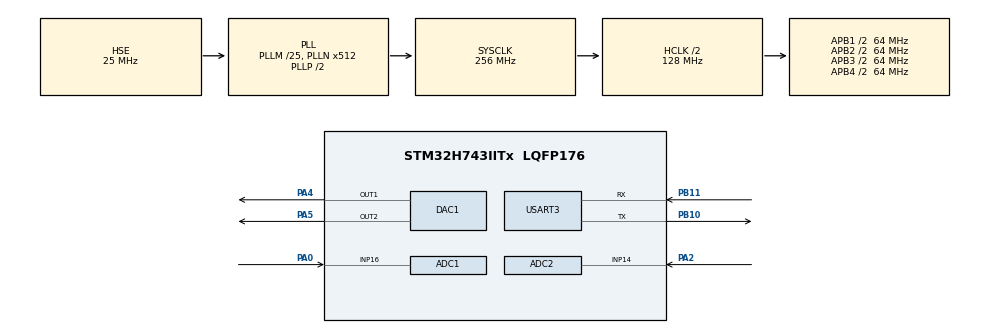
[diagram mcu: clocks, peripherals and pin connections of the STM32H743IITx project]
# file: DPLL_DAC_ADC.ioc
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ADC1.Channel-0\#ChannelRegularConversion=ADC_CHANNEL_16
ADC1.ConversionDataManagement=ADC_CONVERSIONDATA_DMA_ONESHOT
ADC1.ExternalTrigConv=ADC_EXTERNALTRIG_T3_TRGO
ADC1.NbrOfConversionFlag=1
ADC1.OffsetNumber-0\#ChannelRegularConversion=ADC_OFFSET_NONE
ADC1.OffsetSignedSaturation-0\#ChannelRegularConversion=DISABLE
ADC1.Rank-0\#ChannelRegularConversion=1
ADC1.SamplingTime-0\#ChannelRegularConversion=ADC_SAMPLETIME_1CYCLE_5
ADC1.master=1
ADC2.Channel-0\#ChannelRegularConversion=ADC_CHANNEL_14
ADC2.ConversionDataManagement=ADC_CONVERSIONDATA_DMA_ONESHOT
ADC2.ExternalTrigConv=ADC_EXTERNALTRIG_T3_TRGO
ADC2.NbrOfConversionFlag=1
ADC2.OffsetNumber-0\#ChannelRegularConversion=ADC_OFFSET_NONE
ADC2.OffsetSignedSaturation-0\#ChannelRegularConversion=DISABLE
ADC2.Rank-0\#ChannelRegularConversion=1
ADC2.SamplingTime-0\#ChannelRegularConversion=ADC_SAMPLETIME_1CYCLE_5
DAC1.DAC1_OutputBuffer-DAC_OUT1=DAC_OUTPUTBUFFER_DISABLE
DAC1.DAC2_OutputBuffer-DAC_OUT2=DAC_OUTPUTBUFFER_DISABLE
DAC1.DAC_Channel-DAC_OUT1=DAC_CHANNEL_1
DAC1.DAC_Channel-DAC_OUT2=DAC_CHANNEL_2
DAC1.DAC_Trigger-DAC_OUT1=DAC_TRIGGER_T4_TRGO
DAC1.DAC_Trigger-DAC_OUT2=DAC_TRIGGER_T4_TRGO
Dma.ADC1.0.Direction=DMA_PERIPH_TO_MEMORY
Dma.ADC1.0.EventEnable=DISABLE
Dma.ADC1.0.FIFOMode=DMA_FIFOMODE_DISABLE
Dma.ADC1.0.Instance=DMA1_Stream0
Dma.ADC1.0.MemDataAlignment=DMA_MDATAALIGN_HALFWORD
Dma.ADC1.0.MemInc=DMA_MINC_ENABLE
Dma.ADC1.0.Mode=DMA_NORMAL
Dma.ADC1.0.PeriphDataAlignment=DMA_PDATAALIGN_HALFWORD
Dma.ADC1.0.PeriphInc=DMA_PINC_DISABLE
Dma.ADC1.0.Polarity=HAL_DMAMUX_REQ_GEN_RISING
Dma.ADC1.0.Priority=DMA_PRIORITY_LOW
Dma.ADC1.0.RequestNumber=1
Dma.ADC1.0.SignalID=NONE
Dma.ADC1.0.SyncEnable=DISABLE
Dma.ADC1.0.SyncPolarity=HAL_DMAMUX_SYNC_NO_EVENT
Dma.ADC1.0.SyncRequestNumber=1
Dma.ADC1.0.SyncSignalID=NONE
Dma.ADC2.3.Direction=DMA_PERIPH_TO_MEMORY
Dma.ADC2.3.EventEnable=DISABLE
Dma.ADC2.3.FIFOMode=DMA_FIFOMODE_DISABLE
Dma.ADC2.3.Instance=DMA1_Stream2
Dma.ADC2.3.MemDataAlignment=DMA_MDATAALIGN_HALFWORD
Dma.ADC2.3.MemInc=DMA_MINC_ENABLE
Dma.ADC2.3.Mode=DMA_NORMAL
Dma.ADC2.3.PeriphDataAlignment=DMA_PDATAALIGN_HALFWORD
Dma.ADC2.3.PeriphInc=DMA_PINC_DISABLE
Dma.ADC2.3.Polarity=HAL_DMAMUX_REQ_GEN_RISING
Dma.ADC2.3.Priority=DMA_PRIORITY_LOW
Dma.ADC2.3.RequestNumber=1
Dma.ADC2.3.SignalID=NONE
Dma.ADC2.3.SyncEnable=DISABLE
Dma.ADC2.3.SyncPolarity=HAL_DMAMUX_SYNC_NO_EVENT
Dma.ADC2.3.SyncRequestNumber=1
Dma.ADC2.3.SyncSignalID=NONE
Dma.DAC1_CH1.1.Direction=DMA_MEMORY_TO_PERIPH
Dma.DAC1_CH1.1.EventEnable=DISABLE
Dma.DAC1_CH1.1.FIFOMode=DMA_FIFOMODE_DISABLE
Dma.DAC1_CH1.1.Instance=DMA1_Stream1
Dma.DAC1_CH1.1.MemDataAlignment=DMA_MDATAALIGN_HALFWORD
Dma.DAC1_CH1.1.MemInc=DMA_MINC_ENABLE
Dma.DAC1_CH1.1.Mode=DMA_CIRCULAR
Dma.DAC1_CH1.1.PeriphDataAlignment=DMA_PDATAALIGN_HALFWORD
Dma.DAC1_CH1.1.PeriphInc=DMA_PINC_DISABLE
Dma.DAC1_CH1.1.Polarity=HAL_DMAMUX_REQ_GEN_RISING
Dma.DAC1_CH1.1.Priority=DMA_PRIORITY_LOW
Dma.DAC1_CH1.1.RequestNumber=1
Dma.DAC1_CH1.1.SignalID=NONE
Dma.DAC1_CH1.1.SyncEnable=DISABLE
Dma.DAC1_CH1.1.SyncPolarity=HAL_DMAMUX_SYNC_NO_EVENT
Dma.DAC1_CH1.1.SyncRequestNumber=1
Dma.DAC1_CH1.1.SyncSignalID=NONE
Dma.DAC1_CH2.2.Direction=DMA_MEMORY_TO_PERIPH
Dma.DAC1_CH2.2.EventEnable=DISABLE
Dma.DAC1_CH2.2.FIFOMode=DMA_FIFOMODE_DISABLE
Dma.DAC1_CH2.2.Instance=DMA2_Stream1
Dma.DAC1_CH2.2.MemDataAlignment=DMA_MDATAALIGN_HALFWORD
Dma.DAC1_CH2.2.MemInc=DMA_MINC_ENABLE
Dma.DAC1_CH2.2.Mode=DMA_CIRCULAR
Dma.DAC1_CH2.2.PeriphDataAlignment=DMA_PDATAALIGN_HALFWORD
Dma.DAC1_CH2.2.PeriphInc=DMA_PINC_DISABLE
Dma.DAC1_CH2.2.Polarity=HAL_DMAMUX_REQ_GEN_RISING
Dma.DAC1_CH2.2.Priority=DMA_PRIORITY_LOW
Dma.DAC1_CH2.2.RequestNumber=1
Dma.DAC1_CH2.2.SignalID=NONE
Dma.DAC1_CH2.2.SyncEnable=DISABLE
Dma.DAC1_CH2.2.SyncPolarity=HAL_DMAMUX_SYNC_NO_EVENT
Dma.DAC1_CH2.2.SyncRequestNumber=1
Dma.DAC1_CH2.2.SyncSignalID=NONE
Dma.Request0=ADC1
Dma.Request1=DAC1_CH1
Dma.Request2=DAC1_CH2
Dma.Request3=ADC2
Mcu.Family=STM32H7
Mcu.Name=STM32H743IITx
Mcu.Package=LQFP176
NVIC.DMA1_Stream0_IRQn=true\:1\:0\:true\:false\:true\:false\:true\:true
NVIC.DMA1_Stream1_IRQn=true\:1\:0\:true\:false\:true\:false\:true\:true
NVIC.DMA1_Stream2_IRQn=true\:1\:0\:true\:false\:true\:false\:true\:true
NVIC.DMA2_Stream1_IRQn=true\:1\:0\:true\:false\:true\:false\:true\:true
NVIC.PriorityGroup=NVIC_PRIORITYGROUP_4
NVIC.TIM5_IRQn=true\:0\:0\:true\:false\:true\:true\:true\:true
PA0.Mode=IN16-Single-Ended
PA0.Signal=ADC1_INP16
PA13\ (JTMS/SWDIO).Mode=Serial_Wire
PA13\ (JTMS/SWDIO).Signal=DEBUG_JTMS-SWDIO
PA14\ (JTCK/SWCLK).Mode=Serial_Wire
PA14\ (JTCK/SWCLK).Signal=DEBUG_JTCK-SWCLK
PA2.Signal=ADCx_INP14
PA4.Signal=COMP_DAC11_group
PA5.Signal=COMP_DAC12_group
PB10.Mode=Asynchronous
PB10.Signal=USART3_TX
PB11.Mode=Asynchronous
PB11.Signal=USART3_RX
PC14-OSC32_IN\ (OSC32_IN).Mode=LSE-External-Oscillator
PC14-OSC32_IN\ (OSC32_IN).Signal=RCC_OSC32_IN
PC15-OSC32_OUT\ (OSC32_OUT).Mode=LSE-External-Oscillator
PC15-OSC32_OUT\ (OSC32_OUT).Signal=RCC_OSC32_OUT
PH0-OSC_IN\ (PH0).Mode=HSE-External-Oscillator
PH0-OSC_IN\ (PH0).Signal=RCC_OSC_IN
PH1-OSC_OUT\ (PH1).Mode=HSE-External-Oscillator
PH1-OSC_OUT\ (PH1).Signal=RCC_OSC_OUT
ProjectManager.HeapSize=0x200
ProjectManager.StackSize=0x400
ProjectManager.TargetToolchain=MDK-ARM V5.32
RCC.ADCFreq_Value=75000000
RCC.APB1Freq_Value=64000000
RCC.APB2Freq_Value=64000000
RCC.APB3Freq_Value=64000000
RCC.APB4Freq_Value=64000000
RCC.CortexFreq_Value=256000000
RCC.D1PPRE=RCC_APB3_DIV2
RCC.D2PPRE1=RCC_APB1_DIV2
RCC.D2PPRE2=RCC_APB2_DIV2
RCC.D3PPRE=RCC_APB4_DIV2
RCC.DIVM1=25
RCC.DIVM2=2
RCC.DIVN1=512
RCC.DIVN2=12
RCC.HCLKFreq_Value=128000000
RCC.HPRE=RCC_HCLK_DIV2
RCC.PLL2FRACN=0
RCC.PLL2_VCI_Range=RCC_PLL2VCIRANGE_3
RCC.PLL3FRACN=0
RCC.PLLFRACN=0
RCC.PLLSourceVirtual=RCC_PLLSOURCE_HSE
RCC.SYSCLKFreq_VALUE=256000000
RCC.SYSCLKSource=RCC_SYSCLKSOURCE_PLLCLK
RCC.USBFreq_Value=256000000
SH.ADCx_INP14.0=ADC2_INP14,IN14-Single-Ended
SH.COMP_DAC11_group.0=DAC1_OUT1,DAC_OUT1
SH.COMP_DAC12_group.0=DAC1_OUT2,DAC_OUT2
TIM3.Period=125-1
TIM3.TIM_MasterOutputTrigger=TIM_TRGO_UPDATE
TIM4.Period=64-1
TIM4.TIM_MasterOutputTrigger=TIM_TRGO_UPDATE
TIM5.Period=1280-1
TIM5.Prescaler=10000-1
TIM5.TIM_MasterOutputTrigger=TIM_TRGO_RESET
USART3.VirtualMode-Asynchronous=VM_ASYNC
VP_MEMORYMAP_VS_MEMORYMAP.Mode=CurAppReg
VP_TIM3_VS_ClockSourceINT.Mode=Internal
VP_TIM4_VS_ClockSourceINT.Mode=Internal
VP_TIM5_VS_ClockSourceINT.Mode=Internal
board=custom

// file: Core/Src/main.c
/* USER CODE BEGIN Header */
  /**
    ******************************************************************************
    * @file           : main.c
    * @brief          : Main program body
    ******************************************************************************
    * @attention
    *
    * Copyright (c) 2025 STMicroelectronics.
    * All rights reserved.
    *
    * This software is licensed under terms that can be found in the LICENSE file
    * in the root directory of this software component.
    * If no LICENSE file comes with this software, it is provided AS-IS.
    *
    ******************************************************************************
    */
/* USER CODE END Header */
#include "main.h"
#include "adc.h"
#include "dac.h"
#include "dma.h"
#include "memorymap.h"
#include "tim.h"
#include "usart.h"
#include "gpio.h"

/* USER CODE BEGIN Includes */
  #include "MyFunction.h"
  #include "stdio.h"
/* USER CODE END Includes */

void SystemClock_Config(void);
void PeriphCommonClock_Config(void);

/* USER CODE BEGIN 0 */

  //数组
  extern uint32_t place1;
  extern uint32_t place2;
  extern uint32_t ctrl_word1;
  extern uint32_t ctrl_word2;
  extern uint32_t phase_word[2];
  extern uint8_t phaseFlag[2];
  extern uint16_t ADC_Buffer[ADC_LEN];
  extern Signal Wave[2];
  extern uint16_t DAC_Buffer1[WAVE_POINT];
  extern uint16_t DAC_Buffer2[WAVE_POINT];
  extern uint16_t pData1[WAVE_POINT];
  extern uint16_t pData2[WAVE_POINT];
  extern float phase[2]; //相位

  //一些标志位
  uint8_t ADC_ConvEndFlag = 0;
  uint8_t ADC1_ConvEndFlag = 0;
  uint8_t ADC2_ConvEndFlag = 0;
  uint8_t WaveTypeFlag =1; //第一次ADC检测波形
  uint8_t do_ADCFlag = 0;
  uint8_t DAC_ConvFlag = 0; //DAC转换完成标志位
  uint8_t DAC_HalfConvFlag = 0; //DAC半转换完成标志位
  extern DAC_HandleTypeDef hdac1;

  extern uint16_t ADC_Buffer1[ADC_LEN];
  extern uint16_t ADC_Buffer2[ADC_LEN];
	extern float phase_adc[2];
  extern float phase_dac[2];
	//调试用
	float p[2];
/* USER CODE END 0 */

int main(void)
{

  /* MCU Configuration--------------------------------------------------------*/

  /* Reset of all peripherals, Initializes the Flash interface and the Systick. */
  HAL_Init();

  /* Configure the system clock */
  SystemClock_Config();

  /* Configure the peripherals common clocks */
  PeriphCommonClock_Config();

  /* Initialize all configured peripherals */
  MX_GPIO_Init();
  MX_DMA_Init();
  MX_ADC1_Init();
  MX_DAC1_Init();
  MX_TIM3_Init();
  MX_TIM4_Init();
  MX_USART3_UART_Init();
  MX_ADC2_Init();
  MX_TIM5_Init();
  /* USER CODE BEGIN 2 */

    HAL_ADCEx_Calibration_Start(&hadc1, ADC_CALIB_OFFSET, ADC_SINGLE_ENDED);
    HAL_ADCEx_Calibration_Start(&hadc2, ADC_CALIB_OFFSET, ADC_SINGLE_ENDED);

		HAL_TIM_Base_Start_IT(&htim5);
  /* USER CODE END 2 */

  /* Infinite loop */
  /* USER CODE BEGIN WHILE */
    while (1)
    {
      if(DAC_ConvFlag)
      {
        DAC_ConvFlag = 0; //清除标志位
        for(uint16_t i=WAVE_POINT/2;i<WAVE_POINT;i++)
            {
              pData1[i]=DAC_Buffer1[place1>>21];
              pData2[i]=DAC_Buffer2[place2>>21];
              place1+=ctrl_word1;
              place2+=ctrl_word2;
            }
      }
      if(DAC_HalfConvFlag)
      {
        DAC_HalfConvFlag = 0; //清除标志位
        for(uint16_t i=0;i<WAVE_POINT/2;i++)
            {
              pData1[i]=DAC_Buffer1[place1>>21];
              pData2[i]=DAC_Buffer2[place2>>21];
              place1+=ctrl_word1;
              place2+=ctrl_word2;
            }
      }
      if(do_ADCFlag)
      {
        do_ADCFlag=0; //清除标志位
        HAL_ADC_Start_DMA(&hadc1,(uint32_t*)ADC_Buffer,ADC_LEN);
        HAL_ADC_Start_DMA(&hadc2,(uint32_t*)ADC_Buffer1,ADC_LEN);
        HAL_TIM_Base_Start(&htim3);
      }

      if(ADC_ConvEndFlag)
      {
				ADC_ConvEndFlag=0;
				HAL_TIM_Base_Stop(&htim3);
				HAL_ADC_Stop(&hadc2);
				HAL_ADC_Stop(&hadc1);
        if(!WaveTypeFlag)
        {
          //FFT 测两个相位 做差
          //记录上一次的差 比较
          GetPhaseDiff();
          //计算频率
          GetFreq();
          ctrl_word1=Wave[0].Freq*OF;
          ctrl_word2=Wave[1].Freq*OF;//频率控制字
        }
        else
        {
			     WaveTypeFlag=0;
          //p[0]=GetPhase(ADC_Buffer);
          //p[1]=GetPhase(ADC_Buffer1);
          Signal_Separation();
          DDS_SetParameter(Wave);
          HAL_DAC_Start_DMA(&hdac1, DAC_CHANNEL_1, (uint32_t*)pData1,  WAVE_POINT, DAC_ALIGN_12B_R);//使能DAC
          HAL_DAC_Start_DMA(&hdac1, DAC_CHANNEL_2, (uint32_t*)pData2,  WAVE_POINT, DAC_ALIGN_12B_R);//使能DAC
          HAL_TIM_Base_Start(&htim4);
        }
      }
    /* USER CODE END WHILE */

    }
}

void SystemClock_Config(void)
{
  RCC_OscInitTypeDef RCC_OscInitStruct = {0};
  RCC_ClkInitTypeDef RCC_ClkInitStruct = {0};

  /** Supply configuration update enable
  */
  HAL_PWREx_ConfigSupply(PWR_LDO_SUPPLY);

  /** Configure the main internal regulator output voltage
  */
  __HAL_PWR_VOLTAGESCALING_CONFIG(PWR_REGULATOR_VOLTAGE_SCALE2);

  while(!__HAL_PWR_GET_FLAG(PWR_FLAG_VOSRDY)) {}

  /** Initializes the RCC Oscillators according to the specified parameters
  * in the RCC_OscInitTypeDef structure.
  */
  RCC_OscInitStruct.OscillatorType = RCC_OSCILLATORTYPE_HSE;
  RCC_OscInitStruct.HSEState = RCC_HSE_ON;
  RCC_OscInitStruct.PLL.PLLState = RCC_PLL_ON;
  RCC_OscInitStruct.PLL.PLLSource = RCC_PLLSOURCE_HSE;
  RCC_OscInitStruct.PLL.PLLM = 25;
  RCC_OscInitStruct.PLL.PLLN = 512;
  RCC_OscInitStruct.PLL.PLLP = 2;
  RCC_OscInitStruct.PLL.PLLQ = 2;
  RCC_OscInitStruct.PLL.PLLR = 2;
  RCC_OscInitStruct.PLL.PLLRGE = RCC_PLL1VCIRANGE_0;
  RCC_OscInitStruct.PLL.PLLVCOSEL = RCC_PLL1VCOWIDE;
  RCC_OscInitStruct.PLL.PLLFRACN = 0;
  if (HAL_RCC_OscConfig(&RCC_OscInitStruct) != HAL_OK)
  {
    Error_Handler();
  }

  /** Initializes the CPU, AHB and APB buses clocks
  */
  RCC_ClkInitStruct.ClockType = RCC_CLOCKTYPE_HCLK|RCC_CLOCKTYPE_SYSCLK
                              |RCC_CLOCKTYPE_PCLK1|RCC_CLOCKTYPE_PCLK2
                              |RCC_CLOCKTYPE_D3PCLK1|RCC_CLOCKTYPE_D1PCLK1;
  RCC_ClkInitStruct.SYSCLKSource = RCC_SYSCLKSOURCE_PLLCLK;
  RCC_ClkInitStruct.SYSCLKDivider = RCC_SYSCLK_DIV1;
  RCC_ClkInitStruct.AHBCLKDivider = RCC_HCLK_DIV2;
  RCC_ClkInitStruct.APB3CLKDivider = RCC_APB3_DIV2;
  RCC_ClkInitStruct.APB1CLKDivider = RCC_APB1_DIV2;
  RCC_ClkInitStruct.APB2CLKDivider = RCC_APB2_DIV2;
  RCC_ClkInitStruct.APB4CLKDivider = RCC_APB4_DIV2;

  if (HAL_RCC_ClockConfig(&RCC_ClkInitStruct, FLASH_LATENCY_2) != HAL_OK)
  {
    Error_Handler();
  }
}

void PeriphCommonClock_Config(void)
{
  RCC_PeriphCLKInitTypeDef PeriphClkInitStruct = {0};

  /** Initializes the peripherals clock
  */
  PeriphClkInitStruct.PeriphClockSelection = RCC_PERIPHCLK_ADC;
  PeriphClkInitStruct.PLL2.PLL2M = 2;
  PeriphClkInitStruct.PLL2.PLL2N = 12;
  PeriphClkInitStruct.PLL2.PLL2P = 2;
  PeriphClkInitStruct.PLL2.PLL2Q = 2;
  PeriphClkInitStruct.PLL2.PLL2R = 2;
  PeriphClkInitStruct.PLL2.PLL2RGE = RCC_PLL2VCIRANGE_3;
  PeriphClkInitStruct.PLL2.PLL2VCOSEL = RCC_PLL2VCOMEDIUM;
  PeriphClkInitStruct.PLL2.PLL2FRACN = 0;
  PeriphClkInitStruct.AdcClockSelection = RCC_ADCCLKSOURCE_PLL2;
  if (HAL_RCCEx_PeriphCLKConfig(&PeriphClkInitStruct) != HAL_OK)
  {
    Error_Handler();
  }
}

/* USER CODE BEGIN 4 */
  void HAL_ADC_ConvCpltCallback(ADC_HandleTypeDef *hadc)
  {
    if(hadc->Instance == ADC1)
    {
      ADC_ConvEndFlag = 1; //ADC1转换完成标志位
    }
    else if(hadc->Instance == ADC2)
    {
      ADC1_ConvEndFlag = 1; //ADC2转换完成标志位
    }
  }

  void HAL_DAC_ConvHalfCpltCallbackCh1(DAC_HandleTypeDef *hdac)
  {
    DAC_HalfConvFlag = 1;
  }

  void HAL_DAC_ConvCpltCallbackCh1(DAC_HandleTypeDef *hdac)
  {
    DAC_ConvFlag = 1;
  }

void HAL_TIM_PeriodElapsedCallback(TIM_HandleTypeDef *htim)
{
  if(htim==&htim5)
  {
    do_ADCFlag = 1; //设置ADC标志位
  }
}

/* USER CODE END 4 */

void Error_Handler(void)
{
    __disable_irq();
    while (1)
    {
    }
}
